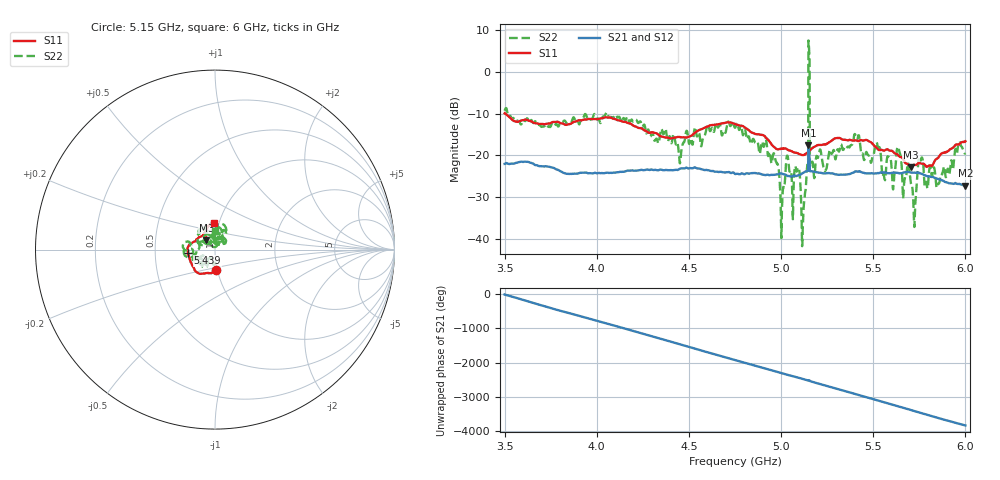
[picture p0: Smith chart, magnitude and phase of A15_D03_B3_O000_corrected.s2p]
! Created with skrf 1.9.0 (http://scikit-rf.org).
# Hz S RI R 50.0
!freq ReS11 ImS11 ReS21 ImS21 ReS12 ImS12 ReS22 ImS22
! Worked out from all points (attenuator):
!   1601 points, 3.5 GHz to 6 GHz, reference 50 ohm
!   highest |S21| = -17.57 dB at 5.148 GHz (marker M1); lowest = -27.2 dB at 6 GHz (marker M2)
!   lowest |S11| = -22.8 dB at 5.705 GHz (marker M3), VSWR 1.16, Z = 45.2 + j4.94 ohm
!   |S11| at or under -10 dB: 3.504 GHz to end of sweep
!   |S22| runs from -41.7 to 7.6 dB; largest |S21 - S12| = 0.00092
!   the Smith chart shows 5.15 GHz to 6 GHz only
!   S11 on the Smith chart (normalised r, x): 5.15 GHz: 0.99, -0.22; 5.439 GHz: 0.74, -0.03; 6 GHz: 0.94, +0.29
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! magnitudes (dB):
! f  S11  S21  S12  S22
! 3.5 GHz  -9.9  -22.0  -22.0  -9.3
! 3.917 GHz  -11.6  -24.2  -24.1  -10.9
! 4.334 GHz  -15.0  -23.6  -23.5  -17.1
! 4.453 GHz  -15.6  -23.1  -23.1  -21.6
! 4.75 GHz  -12.5  -24.4  -24.3  -13.4
! 4.969 GHz  -18.2  -24.6  -24.6  -21.0
! 5.006 GHz  -18.4  -24.4  -24.3  -30.9
! 5.034 GHz  -18.6  -24.9  -24.8  -20.1
! 5.058 GHz  -19.0  -25.0  -25.0  -25.5
! 5.088 GHz  -19.4  -24.8  -24.8  -23.5
! 5.12 GHz  -19.9  -24.2  -24.1  -34.3
! 5.148 GHz  -19.1  -17.6  -17.6  7.6
! 5.15 GHz  -19.1  -18.1  -18.1  7.0
! 5.161 GHz  -18.6  -23.8  -23.7  -22.8
! 5.167 GHz  -18.3  -23.8  -23.8  -21.6
! 5.439 GHz  -16.4  -24.1  -24.1  -19.7
! 5.584 GHz  -18.7  -24.2  -24.2  -20.4
! 5.705 GHz  -22.8  -24.1  -24.1  -26.7
! 5.723 GHz  -22.2  -24.1  -24.1  -37.2
! 5.756 GHz  -21.9  -24.3  -24.3  -21.2
! 5.852 GHz  -20.6  -25.6  -25.6  -26.8
! 6 GHz  -16.6  -27.2  -27.2  -19.5
